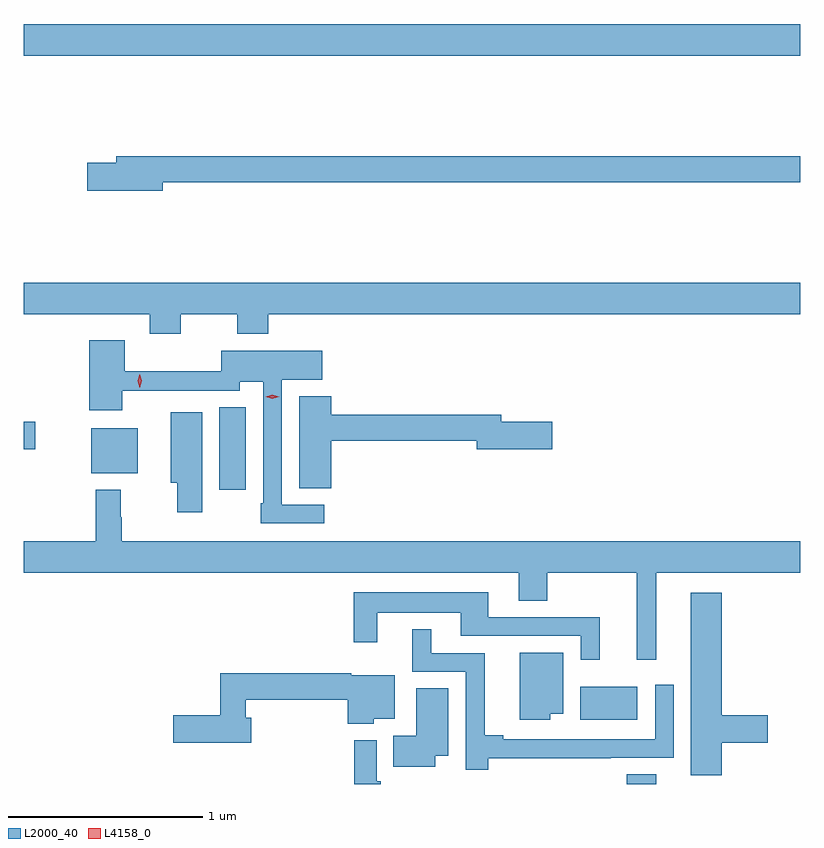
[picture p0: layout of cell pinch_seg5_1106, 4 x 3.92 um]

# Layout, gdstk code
import gdstk
lib = gdstk.Library(unit=1e-6, precision=1e-09)
def R(c, l, rs):  # rectangles x0, y0, x1, y1
    for r in rs: c.add(gdstk.rectangle(r[:2], r[2:], *l))
def P(c, l, *ps):  # polygons
    for p in ps: c.add(gdstk.Polygon(p, *l))
L2000_40 = (2000, 40)
L4158_0 = (4158, 0)

pinch_seg5_1106 = lib.new_cell('pinch_seg5_1106')
R(pinch_seg5_1106, L2000_40, [(784.388,846.349,784.54,846.398), (784.148,846.68,784.441,846.85), (782.288,847.866,782.425,848.291), (781.628,847.949,781.867,848.182), (781.281,848.074,781.339,848.216), (781.281,850.1,785.281,850.264)])
P(pinch_seg5_1106, L2000_40, [(781.996,849.448),(785.281,849.448),(785.281,849.584),(781.757,849.584),(781.757,849.548),(781.608,849.548),(781.608,849.406),(781.996,849.406)],
  [(782.091,848.768),(782.38,848.768),(782.38,848.669),(782.54,848.669),(782.54,848.768),(785.281,848.768),(785.281,848.932),(781.281,848.932),(781.281,848.768),(781.931,848.768),(781.931,848.669),(782.091,848.669)],
  [(782.83,847.788),(782.61,847.788),(782.61,848.432),(782.818,848.432),(782.818,848.581),(782.298,848.581),(782.298,848.474),(781.802,848.474),(781.802,848.635),(781.619,848.635),(781.619,848.274),(781.789,848.274),(781.789,848.376),(782.394,848.376),(782.394,848.42),(782.514,848.42),(782.514,847.795),(782.502,847.795),(782.502,847.692),(782.83,847.692)],
  [(782.866,848.116),(783.614,848.116),(783.614,848.074),(784.003,848.074),(784.003,848.216),(783.742,848.216),(783.742,848.252),(782.866,848.252),(782.866,848.347),(782.699,848.347),(782.699,847.873),(782.866,847.873)],
  [(782.2,848.263),(782.039,848.263),(782.039,847.901),(782.071,847.901),(782.071,847.749),(782.2,847.749)],
  [(784.538,847.436),(785.281,847.436),(785.281,847.6),(781.787,847.6),(781.787,847.724),(781.78,847.724),(781.78,847.864),(781.651,847.864),(781.651,847.6),(781.281,847.6),(781.281,847.436),(783.83,847.436),(783.83,847.294),(783.978,847.294),(783.978,847.436),(784.439,847.436),(784.439,846.99),(784.538,846.99)],
  [(784.247,847.209),(783.673,847.209),(783.673,847.336),(782.982,847.336),(782.982,847.08),(783.103,847.08),(783.103,847.232),(783.533,847.232),(783.533,847.113),(784.149,847.113),(784.149,846.99),(784.247,846.99)],
  [(784.877,846.562),(785.113,846.562),(785.113,846.704),(784.877,846.704),(784.877,847.333),(784.718,847.333),(784.718,846.393),(784.877,846.393)],
  [(783.674,846.482),(784.304,846.482),(784.304,846.483),(784.629,846.483),(784.629,846.859),(784.533,846.859),(784.533,846.579),(783.751,846.579),(783.751,846.599),(783.656,846.599),(783.656,847.023),(783.379,847.023),(783.379,847.147),(783.281,847.147),(783.281,846.927),(783.558,846.927),(783.558,846.423),(783.674,846.423)],
  [(783.994,846.71),(784.06,846.71),(784.06,847.024),(783.836,847.024),(783.836,846.68),(783.994,846.68)],
  [(782.453,846.691),(782.425,846.691),(782.425,846.784),(782.951,846.784),(782.951,846.659),(783.084,846.659),(783.084,846.686),(783.193,846.686),(783.193,846.91),(782.967,846.91),(782.967,846.92),(782.293,846.92),(782.293,846.704),(782.052,846.704),(782.052,846.562),(782.453,846.562)],
  [(783.4,846.494),(783.469,846.494),(783.469,846.842),(783.302,846.842),(783.302,846.598),(783.184,846.598),(783.184,846.437),(783.4,846.437)],
  [(783.119,846.364),(783.099,846.364),(783.099,846.574),(782.983,846.574),(782.983,846.349),(783.119,846.349)])
P(pinch_seg5_1106, L4158_0, [(782.561,848.334),(782.527,848.343),(782.526,848.343),(782.527,848.344),(782.561,848.354),(782.596,848.345),(782.596,848.345),(782.596,848.344)],
  [(781.878,848.389),(781.878,848.389),(781.869,848.425),(781.879,848.461),(781.879,848.461),(781.879,848.461),(781.889,848.425),(781.879,848.389)])

lib.write_gds('pinch_seg5_1106.gds')
